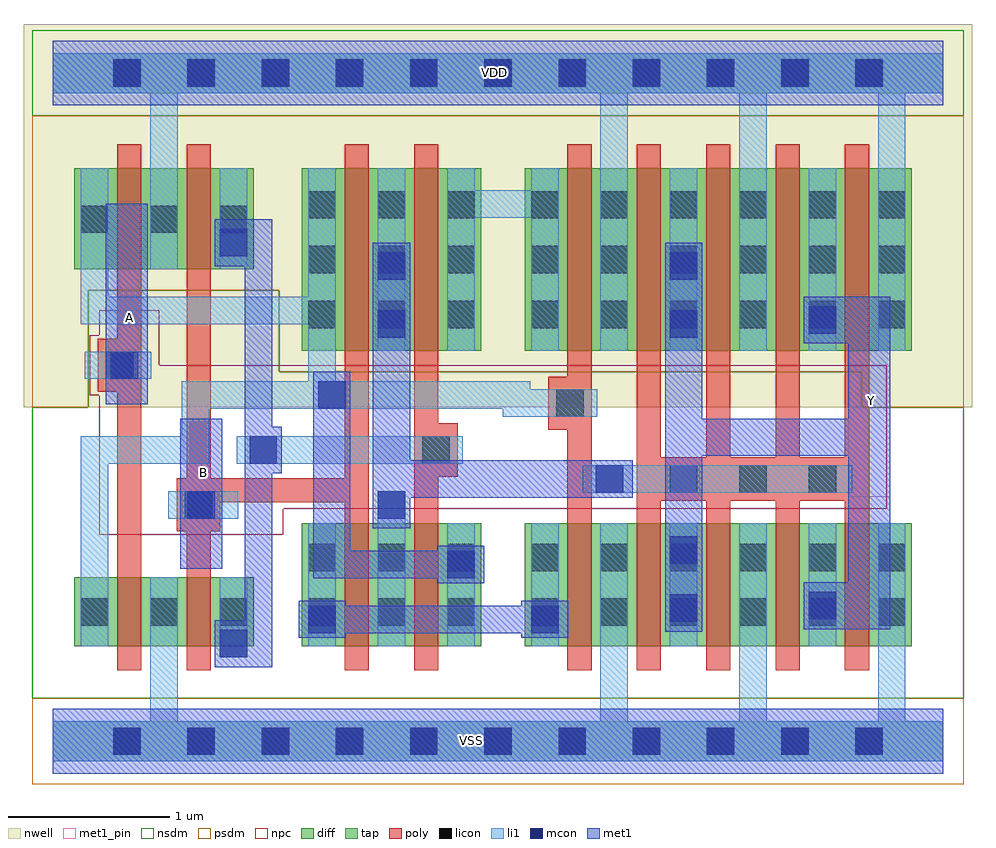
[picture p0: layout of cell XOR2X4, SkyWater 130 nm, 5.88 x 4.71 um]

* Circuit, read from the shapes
.subckt XOR2X4 A B VDD VSS Y
XM1 VSS A n1 VSS sky130_fd_pr__nfet_01v8 w=0.425 l=0.15
XM2 n2 B VSS VSS sky130_fd_pr__nfet_01v8 w=0.425 l=0.15
XM3 n3 B n4 VSS sky130_fd_pr__nfet_01v8 w=0.76 l=0.15
XM4 n1 n2 n3 VSS sky130_fd_pr__nfet_01v8 w=0.76 l=0.15
XM5 VSS n1 n4 VSS sky130_fd_pr__nfet_01v8 w=0.76 l=0.15
XM6 Y n3 VSS VSS sky130_fd_pr__nfet_01v8 w=0.76 l=0.15 m=4
XM7 VDD A n1 VDD sky130_fd_pr__pfet_01v8 w=0.625 l=0.15
XM8 n2 B VDD VDD sky130_fd_pr__pfet_01v8 w=0.625 l=0.15
XM9 n3 B n1 VDD sky130_fd_pr__pfet_01v8 w=1.13 l=0.15
XM10 n5 n2 n3 VDD sky130_fd_pr__pfet_01v8 w=1.13 l=0.15
XM11 VDD n1 n5 VDD sky130_fd_pr__pfet_01v8 w=1.13 l=0.15
XM12 Y n3 VDD VDD sky130_fd_pr__pfet_01v8 w=1.13 l=0.15 m=4
.ends

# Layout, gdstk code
from math import pi, radians
import gdstk
lib = gdstk.Library(unit=1e-6, precision=1e-09)
def R(c, l, rs):  # rectangles x0, y0, x1, y1
    for r in rs: c.add(gdstk.rectangle(r[:2], r[2:], *l))
def A(c, l, x, y, w, h, nx, ny, dx, dy):  # array of equal rectangles
    R(c, l, [(x+i*dx, y+j*dy, x+i*dx+w, y+j*dy+h) for i in range(nx) for j in range(ny)])
def P(c, l, *ps):  # polygons
    for p in ps: c.add(gdstk.Polygon(p, *l))
nwell = (64, 20)
diff = (65, 20)
tap = (65, 44)
poly = (66, 20)
licon = (66, 44)
li1 = (67, 20)
mcon = (67, 44)
met1_pin = (68, 16)
met1 = (68, 20)
nsdm = (93, 44)
psdm = (94, 20)
npc = (95, 20)

l1m1_c_cdns_750710154090 = lib.new_cell('L1M1_C_CDNS_750710154090')
R(l1m1_c_cdns_750710154090, li1, [(-0.165,-0.085,0.165,0.085)])
R(l1m1_c_cdns_750710154090, mcon, [(-0.085,-0.085,0.085,0.085)])
R(l1m1_c_cdns_750710154090, met1, [(-0.115,-0.145,0.115,0.145)])

l1m1_c_cdns_750710154091 = lib.new_cell('L1M1_C_CDNS_750710154091')
R(l1m1_c_cdns_750710154091, li1, [(-0.085,-0.165,0.085,0.165)])
R(l1m1_c_cdns_750710154091, mcon, [(-0.085,-0.085,0.085,0.085)])
R(l1m1_c_cdns_750710154091, met1, [(-0.115,-0.145,0.115,0.145)])

pyl1con_c_cdns_750710154 = lib.new_cell('PYL1CON_C_CDNS_750710154092')
R(pyl1con_c_cdns_750710154, poly, [(-0.135,-0.165,0.135,0.165)])
R(pyl1con_c_cdns_750710154, licon, [(-0.085,-0.085,0.085,0.085)])
R(pyl1con_c_cdns_750710154, npc, [(-0.185,-0.185,0.185,0.185)])

l1m1_c_cdns_750710154093 = lib.new_cell('L1M1_C_CDNS_750710154093')
R(l1m1_c_cdns_750710154093, li1, [(-0.085,-0.165,0.085,0.165)])
R(l1m1_c_cdns_750710154093, mcon, [(-0.085,-0.085,0.085,0.085)])
R(l1m1_c_cdns_750710154093, met1, [(-0.145,-0.115,0.145,0.115)])

l1m1_c_cdns_750710154094 = lib.new_cell('L1M1_C_CDNS_750710154094')
R(l1m1_c_cdns_750710154094, li1, [(-0.085,-0.345,0.085,0.345)])
R(l1m1_c_cdns_750710154094, mcon, [(-0.085,-0.265,0.085,-0.095), (-0.085,0.095,0.085,0.265)])
R(l1m1_c_cdns_750710154094, met1, [(-0.115,-0.325,0.115,0.325)])

l1m1_c_cdns_750710154095 = lib.new_cell('L1M1_C_CDNS_750710154095')
R(l1m1_c_cdns_750710154095, li1, [(-0.165,-0.085,0.165,0.085)])
R(l1m1_c_cdns_750710154095, mcon, [(-0.085,-0.085,0.085,0.085)])
R(l1m1_c_cdns_750710154095, met1, [(-0.145,-0.115,0.145,0.115)])

l1m1_c_cdns_750710154096 = lib.new_cell('L1M1_C_CDNS_750710154096')
R(l1m1_c_cdns_750710154096, li1, [(-0.085,-0.085,0.085,0.085)])
R(l1m1_c_cdns_750710154096, mcon, [(-0.085,-0.085,0.085,0.085)])
R(l1m1_c_cdns_750710154096, met1, [(-0.115,-0.145,0.115,0.145)])

l1m1_c_cdns_750710154097 = lib.new_cell('L1M1_C_CDNS_750710154097')
R(l1m1_c_cdns_750710154097, li1, [(-0.085,-0.085,0.085,0.165)])
R(l1m1_c_cdns_750710154097, mcon, [(-0.085,-0.085,0.085,0.085)])
R(l1m1_c_cdns_750710154097, met1, [(-0.115,-0.145,0.115,0.145)])

xor2x4 = lib.new_cell('XOR2X4')
R(xor2x4, nwell, [(-0.18,2.07,5.7,4.305), (1.365,2.24,2.365,3.73), (2.005,2.24,2.835,3.73), (2.745,2.24,3.575,3.73), (3.215,2.24,5.505,3.73), (-0.045,2.745,0.955,3.73), (0.595,2.745,1.425,3.73), (-0.18,3.875,5.7,4.445)])
A(xor2x4, diff, 3.19, 0.59, 0.15, 0.76, 5, 1, 0.43, 0)
A(xor2x4, diff, 3.77, 0.59, 0.28, 0.76, 3, 1, 0.43, 0)
A(xor2x4, diff, 3.19, 2.42, 0.15, 1.13, 5, 1, 0.43, 0)
A(xor2x4, diff, 3.77, 2.42, 0.28, 1.13, 3, 1, 0.43, 0)
R(xor2x4, diff, [(0.135,0.59,0.4,1.015), (0.4,0.59,0.55,1.015), (0.55,0.59,0.775,1.015), (0.775,0.59,0.83,1.015), (0.83,0.59,0.98,1.015), (0.98,0.59,1.245,1.015), (1.545,0.59,1.81,1.35), (1.81,0.59,1.96,1.35), (1.96,0.59,2.185,1.35), (2.185,0.59,2.24,1.35), (2.24,0.59,2.39,1.35), (2.39,0.59,2.655,1.35), (2.925,0.59,3.19,1.35), (3.34,0.59,3.395,1.35), (3.395,0.59,3.62,1.35), (5.06,0.59,5.325,1.35), (1.545,2.42,1.81,3.55), (1.81,2.42,1.96,3.55), (1.96,2.42,2.185,3.55), (2.185,2.42,2.24,3.55), (2.24,2.42,2.39,3.55), (2.39,2.42,2.655,3.55), (2.925,2.42,3.19,3.55), (3.34,2.42,3.395,3.55), (3.395,2.42,3.62,3.55), (5.06,2.42,5.325,3.55), (0.135,2.925,0.4,3.55), (0.4,2.925,0.55,3.55), (0.55,2.925,0.775,3.55), (0.775,2.925,0.83,3.55), (0.83,2.925,0.98,3.55), (0.98,2.925,1.245,3.55)])
A(xor2x4, poly, 3.19, 0.44, 0.15, 0.055, 5, 2, 0.43, 1.005)
A(xor2x4, poly, 3.19, 0.495, 0.15, 0.095, 5, 2, 0.43, 0.855)
A(xor2x4, poly, 3.19, 0.59, 0.15, 0.76, 5, 1, 0.43, 0)
A(xor2x4, poly, 3.19, 2.27, 0.15, 0.055, 5, 2, 0.43, 1.375)
A(xor2x4, poly, 3.19, 2.325, 0.15, 0.095, 5, 2, 0.43, 1.225)
A(xor2x4, poly, 3.19, 2.42, 0.15, 1.13, 5, 1, 0.43, 0)
R(xor2x4, poly, [(0.4,0.44,0.55,0.495), (0.83,0.44,0.98,0.495), (1.81,0.44,1.96,0.495), (2.24,0.44,2.39,0.495), (0.4,0.495,0.55,0.59), (0.83,0.495,0.98,0.59), (1.81,0.495,1.96,0.59), (2.24,0.495,2.39,0.59), (0.4,0.59,0.55,1.015), (0.83,0.59,0.98,1.015), (1.81,0.59,1.96,1.35), (2.24,0.59,2.39,1.35), (0.4,1.015,0.55,1.11), (0.83,1.015,0.98,1.11), (0.4,1.11,0.55,1.165), (0.83,1.11,0.98,1.165), (1.81,1.35,1.96,1.445), (2.24,1.35,2.39,1.445), (1.81,1.445,1.96,1.5), (2.24,1.445,2.39,1.5), (1.81,2.27,1.96,2.325), (2.24,2.27,2.39,2.325), (1.81,2.325,1.96,2.42), (2.24,2.325,2.39,2.42), (1.81,2.42,1.96,3.55), (2.24,2.42,2.39,3.55), (0.4,2.775,0.55,2.83), (0.83,2.775,0.98,2.83), (0.4,2.83,0.55,2.925), (0.83,2.83,0.98,2.925), (0.4,2.925,0.55,3.55), (0.83,2.925,0.98,3.55), (0.4,3.55,0.55,3.645), (0.83,3.55,0.98,3.645), (1.81,3.55,1.96,3.645), (2.24,3.55,2.39,3.645), (0.4,3.645,0.55,3.7), (0.83,3.645,0.98,3.7), (1.81,3.645,1.96,3.7), (2.24,3.645,2.39,3.7)])
A(xor2x4, licon, 0.375, -0.085, 0.17, 0.17, 11, 2, 0.46, 4.14)
A(xor2x4, licon, 0.175, 0.715, 0.17, 0.17, 3, 2, 0.43, 2.435)
A(xor2x4, licon, 1.585, 0.715, 0.17, 0.17, 3, 2, 0.43, 0.34)
A(xor2x4, licon, 2.965, 0.715, 0.17, 0.17, 6, 2, 0.43, 0.34)
A(xor2x4, licon, 1.585, 2.56, 0.17, 0.17, 3, 3, 0.43, 0.34)
A(xor2x4, licon, 2.965, 2.56, 0.17, 0.17, 6, 3, 0.43, 0.34)
A(xor2x4, li1, 0.175, 0.59, 0.17, 0.425, 3, 1, 0.43, 0)
A(xor2x4, li1, 1.585, 0.59, 0.17, 0.76, 3, 1, 0.43, 0)
A(xor2x4, li1, 2.965, 0.59, 0.17, 0.76, 6, 1, 0.43, 0)
A(xor2x4, li1, 1.585, 2.42, 0.17, 1.13, 3, 1, 0.43, 0)
A(xor2x4, li1, 2.965, 2.42, 0.17, 1.13, 6, 1, 0.43, 0)
A(xor2x4, li1, 0.175, 2.925, 0.17, 0.625, 3, 1, 0.43, 0)
A(xor2x4, mcon, 0.375, -0.085, 0.17, 0.17, 11, 2, 0.46, 4.14)
R(xor2x4, met1_pin, [(0.79,1.07,1.05,2), (4.93,1.515,5.19,2.755), (0.33,2.09,0.59,3.33)])
R(xor2x4, met1, [(1.005,2.945,1.36,3.235)])
R(xor2x4, nsdm, [(-0.005,0.46,0.785,1.145), (0.765,0.46,1.385,1.145), (1.405,0.46,2.195,1.48), (2.175,0.46,2.795,1.48), (2.785,0.46,3.405,1.48), (3.385,0.46,5.465,1.48), (-0.125,3.875,5.645,4.405), (-0.125,3.93,5.645,4.35)])
P(xor2x4, nsdm, [(5.645,2.07),(5.015,2.07),(5.015,2.29),(1.405,2.29),(1.405,2.795),(0.22,2.795),(0.22,2.07),(-0.125,2.07),(-0.125,0.265),(5.645,0.265)])
R(xor2x4, psdm, [(-0.125,-0.265,5.645,0.265), (-0.125,-0.21,5.645,0.21), (1.405,2.29,2.195,3.68), (2.175,2.29,2.795,3.68), (2.785,2.29,3.405,3.68), (3.385,2.29,5.465,3.68), (-0.005,2.795,0.785,3.68), (0.765,2.795,1.385,3.68)])
P(xor2x4, psdm, [(5.645,3.875),(-0.125,3.875),(-0.125,2.07),(0.22,2.07),(0.22,2.795),(1.405,2.795),(1.405,2.29),(5.015,2.29),(5.015,2.07),(5.645,2.07)])
P(xor2x4, npc, [(5.17,2.33),(0.66,2.33),(0.66,2.67),(0.29,2.67),(0.29,1.28),(1.43,1.28),(1.43,1.44),(5.17,1.44)])
xor2x4.add(gdstk.FlexPath([(0.475,2.83),(0.475,1.11)], 0.15, ends="flush", simple_path=True, layer=66, datatype=20))  # poly
xor2x4.add(gdstk.FlexPath([(3.695,2.325),(3.695,1.445)], 0.15, ends="flush", simple_path=True, layer=66, datatype=20))  # poly
xor2x4.add(gdstk.FlexPath([(3.265,2.325),(3.265,1.445)], 0.15, ends="flush", simple_path=True, layer=66, datatype=20))  # poly
xor2x4.add(gdstk.FlexPath([(2.315,2.325),(2.315,1.45)], 0.15, ends="flush", simple_path=True, layer=66, datatype=20))  # poly
xor2x4.add(gdstk.FlexPath([(4.555,2.325),(4.555,1.445)], 0.15, ends="flush", simple_path=True, layer=66, datatype=20))  # poly
xor2x4.add(gdstk.FlexPath([(0.905,1.11),(0.905,2.83)], 0.15, ends="flush", simple_path=True, layer=66, datatype=20))  # poly
xor2x4.add(gdstk.FlexPath([(1.885,1.555),(1.885,2.27)], 0.15, ends=(0.075, 0), simple_path=True, layer=66, datatype=20))  # poly
xor2x4.add(gdstk.FlexPath([(1.885,1.555),(0.77,1.555)], 0.15, ends=(0.075, 0), simple_path=True, layer=66, datatype=20))  # poly
xor2x4.add(gdstk.FlexPath([(4.985,2.325),(4.985,1.445)], 0.15, ends="flush", simple_path=True, layer=66, datatype=20))  # poly
xor2x4.add(gdstk.FlexPath([(4.125,2.325),(4.125,1.445)], 0.15, ends="flush", simple_path=True, layer=66, datatype=20))  # poly
xor2x4.add(gdstk.FlexPath([(1.885,1.555),(1.885,1.5)], 0.15, ends=(0.075, 0), simple_path=True, layer=66, datatype=20))  # poly
xor2x4.add(gdstk.FlexPath([(1.885,1.555),(1.885,2.325)], 0.15, ends=(0.075, 0), simple_path=True, layer=66, datatype=20))  # poly
xor2x4.add(gdstk.FlexPath([(3.375,2.095),(2.875,2.095)], 0.17, ends=(0, 0.085), simple_path=True, layer=67, datatype=20))  # li1
xor2x4.add(gdstk.FlexPath([(2.875,2.095),(2.875,2.145)], 0.17, ends="extended", simple_path=True, layer=67, datatype=20))  # li1
xor2x4.add(gdstk.FlexPath([(2.845,2.145),(1.58,2.145)], 0.17, ends="flush", simple_path=True, layer=67, datatype=20))  # li1
xor2x4.add(gdstk.FlexPath([(3.48,0.59),(3.48,0)], 0.17, ends=(0, 0.085), simple_path=True, layer=67, datatype=20))  # li1
xor2x4.add(gdstk.FlexPath([(1.67,2.67),(0.26,2.67)], 0.17, ends="extended", simple_path=True, layer=67, datatype=20))  # li1
xor2x4.add(gdstk.FlexPath([(1.67,2.29),(1.67,2.67)], 0.17, ends=(0, 0.085), simple_path=True, layer=67, datatype=20))  # li1
xor2x4.add(gdstk.FlexPath([(4.34,0.59),(4.34,0)], 0.17, ends=(0, 0.085), simple_path=True, layer=67, datatype=20))  # li1
xor2x4.add(gdstk.FlexPath([(3.48,0),(0.215,0)], 0.17, ends=(0.085, 0), simple_path=True, layer=67, datatype=20))  # li1
xor2x4.add(gdstk.FlexPath([(2.1,1.35),(2.1,1.55)], 0.17, ends="flush", simple_path=True, layer=67, datatype=20))  # li1
xor2x4.add(gdstk.FlexPath([(0.69,3.55),(0.69,4.14)], 0.17, ends=(0, 0.125), simple_path=True, layer=67, datatype=20))  # li1
xor2x4.add(gdstk.FlexPath([(4.955,1.625),(3.285,1.625)], 0.17, ends="flush", simple_path=True, layer=67, datatype=20))  # li1
xor2x4.add(gdstk.FlexPath([(0.26,1.805),(0.26,1.015)], 0.17, ends=(0.085, 0), simple_path=True, layer=67, datatype=20))  # li1
xor2x4.add(gdstk.FlexPath([(2.54,1.805),(1.14,1.805)], 0.17, ends="flush", simple_path=True, layer=67, datatype=20))  # li1
xor2x4.add(gdstk.FlexPath([(0,0),(5.52,0)], 0.25, ends="flush", simple_path=True, layer=67, datatype=20))  # li1
xor2x4.add(gdstk.FlexPath([(4.34,3.55),(4.34,4.14)], 0.17, ends=(0, 0.125), simple_path=True, layer=67, datatype=20))  # li1
xor2x4.add(gdstk.FlexPath([(3.48,3.55),(3.48,4.14)], 0.17, ends=(0, 0.125), simple_path=True, layer=67, datatype=20))  # li1
xor2x4.add(gdstk.FlexPath([(2.53,3.33),(2.965,3.33)], 0.17, ends=(0.085, 0), simple_path=True, layer=67, datatype=20))  # li1
xor2x4.add(gdstk.FlexPath([(5.2,0),(4.34,0)], 0.17, ends="extended", simple_path=True, layer=67, datatype=20))  # li1
xor2x4.add(gdstk.FlexPath([(4.34,0),(3.48,0)], 0.17, ends="extended", simple_path=True, layer=67, datatype=20))  # li1
xor2x4.add(gdstk.FlexPath([(0.885,2.145),(0.885,1.805)], 0.17, ends="extended", simple_path=True, layer=67, datatype=20))  # li1
xor2x4.add(gdstk.FlexPath([(1.67,3.55),(1.67,2.06)], 0.17, ends="flush", simple_path=True, layer=67, datatype=20))  # li1
xor2x4.add(gdstk.FlexPath([(1.09,1.465),(0.755,1.465)], 0.17, ends="flush", simple_path=True, layer=67, datatype=20))  # li1
xor2x4.add(gdstk.FlexPath([(5.2,3.55),(5.2,4.14)], 0.17, ends=(0, 0.085), simple_path=True, layer=67, datatype=20))  # li1
xor2x4.add(gdstk.FlexPath([(0.69,0.59),(0.69,0)], 0.17, ends="flush", simple_path=True, layer=67, datatype=20))  # li1
xor2x4.add(gdstk.FlexPath([(0,4.14),(5.52,4.14)], 0.25, ends="flush", simple_path=True, layer=67, datatype=20))  # li1
xor2x4.add(gdstk.FlexPath([(5.2,4.14),(0.215,4.14)], 0.17, ends=(0.085, 0), simple_path=True, layer=67, datatype=20))  # li1
xor2x4.add(gdstk.FlexPath([(0.885,1.805),(0.26,1.805)], 0.17, ends="extended", simple_path=True, layer=67, datatype=20))  # li1
xor2x4.add(gdstk.FlexPath([(1.15,1.465),(0.715,1.465)], 0.17, ends="flush", simple_path=True, layer=67, datatype=20))  # li1
xor2x4.add(gdstk.FlexPath([(0.26,1.89),(0.26,1.805)], 0.17, ends=(0, 0.085), simple_path=True, layer=67, datatype=20))  # li1
xor2x4.add(gdstk.FlexPath([(0.26,2.76),(0.26,2.675)], 0.17, ends=(0.085, 0), simple_path=True, layer=67, datatype=20))  # li1
xor2x4.add(gdstk.FlexPath([(0.445,2.33),(0.2,2.33)], 0.17, ends="flush", simple_path=True, layer=67, datatype=20))  # li1
xor2x4.add(gdstk.FlexPath([(0.26,2.925),(0.26,2.76)], 0.17, ends=(0, 0.085), simple_path=True, layer=67, datatype=20))  # li1
xor2x4.add(gdstk.FlexPath([(2.875,2.145),(2.845,2.145)], 0.17, ends=(0.085, 0), simple_path=True, layer=67, datatype=20))  # li1
xor2x4.add(gdstk.FlexPath([(1.73,2.145),(0.885,2.145)], 0.17, ends=(0, 0.085), simple_path=True, layer=67, datatype=20))  # li1
xor2x4.add(gdstk.FlexPath([(5.2,0.59),(5.2,0)], 0.17, ends=(0, 0.085), simple_path=True, layer=67, datatype=20))  # li1
xor2x4.add(gdstk.FlexPath([(3.595,1.625),(1.985,1.625)], 0.23, ends="flush", simple_path=True, layer=68, datatype=20))  # met1
xor2x4.add(gdstk.FlexPath([(1.815,0.755),(3.195,0.755)], 0.17, ends="flush", simple_path=True, layer=68, datatype=20))  # met1
xor2x4.add(gdstk.FlexPath([(2.53,1.095),(1.73,1.095)], 0.17, ends=(0.115, 0.115), simple_path=True, layer=68, datatype=20))  # met1
xor2x4.add(gdstk.FlexPath([(0.92,1.07),(0.92,2)], 0.26, ends="flush", simple_path=True, layer=68, datatype=20))  # met1
xor2x4.add(gdstk.FlexPath([(5.06,0.695),(5.06,2.755)], 0.26, ends="flush", simple_path=True, layer=68, datatype=20))  # met1
xor2x4.add(gdstk.FlexPath([(4.77,0.84),(4.885,0.84)], 0.29, ends=(0, 0.13), simple_path=True, layer=68, datatype=20))  # met1
xor2x4.add(gdstk.FlexPath([(1.73,1.095),(1.73,2.145)], 0.23, ends=(0.085, 0), simple_path=True, layer=68, datatype=20))  # met1
xor2x4.add(gdstk.FlexPath([(1.275,0.605),(1.275,3.09)], 0.17, ends=(0.145, 0.085), simple_path=True, layer=68, datatype=20))  # met1
xor2x4.add(gdstk.FlexPath([(4.885,0.84),(4.885,0.865)], 0.26, ends=(0.145, 0), simple_path=True, layer=68, datatype=20))  # met1
xor2x4.add(gdstk.FlexPath([(4.77,2.61),(4.885,2.61)], 0.29, ends=(0, 0.13), simple_path=True, layer=68, datatype=20))  # met1
xor2x4.add(gdstk.FlexPath([(0,4.14),(5.52,4.14)], 0.4, ends="flush", simple_path=True, layer=68, datatype=20))  # met1
xor2x4.add(gdstk.FlexPath([(5.055,1.885),(3.795,1.885)], 0.23, ends="flush", simple_path=True, layer=68, datatype=20))  # met1
xor2x4.add(gdstk.FlexPath([(3.91,0.68),(3.91,3.09)], 0.23, ends="flush", simple_path=True, layer=68, datatype=20))  # met1
xor2x4.add(gdstk.FlexPath([(2.1,1.32),(2.1,3.09)], 0.23, ends="flush", simple_path=True, layer=68, datatype=20))  # met1
xor2x4.add(gdstk.FlexPath([(0,0),(5.52,0)], 0.4, ends="flush", simple_path=True, layer=68, datatype=20))  # met1
xor2x4.add(gdstk.FlexPath([(1.12,0.605),(1.235,0.605)], 0.29, ends=(0, 0.085), simple_path=True, layer=68, datatype=20))  # met1
xor2x4.add(gdstk.FlexPath([(1.275,3.09),(1.16,3.09)], 0.17, ends=(0.085, 0), simple_path=True, layer=68, datatype=20))  # met1
xor2x4.add(gdstk.FlexPath([(0.46,2.09),(0.46,3.33)], 0.26, ends="flush", simple_path=True, layer=68, datatype=20))  # met1
xor2x4.add(gdstk.FlexPath([(0,4.14),(5.52,4.14)], 0.25, ends="flush", simple_path=True, layer=65, datatype=44))  # tap
xor2x4.add(gdstk.FlexPath([(0,0),(5.52,0)], 0.25, ends="flush", simple_path=True, layer=65, datatype=44))  # tap
xor2x4.add(gdstk.FlexPath([(0,4.14),(5.52,4.14)], 0.4, ends="flush", simple_path=True, layer=68, datatype=16))  # met1_pin
xor2x4.add(gdstk.FlexPath([(0,0),(5.52,0)], 0.4, ends="flush", simple_path=True, layer=68, datatype=16))  # met1_pin
xor2x4.add(gdstk.Reference(l1m1_c_cdns_750710154090, (0.92,1.465), x_reflection=True))
xor2x4.add(gdstk.Reference(l1m1_c_cdns_750710154090, (0.445,2.33), x_reflection=True))
xor2x4.add(gdstk.Reference(l1m1_c_cdns_750710154090, (1.73,2.145)))
xor2x4.add(gdstk.Reference(l1m1_c_cdns_750710154091, (4.77,2.61)))
xor2x4.add(gdstk.Reference(l1m1_c_cdns_750710154091, (4.77,0.84)))
xor2x4.add(gdstk.Reference(l1m1_c_cdns_750710154091, (1.12,3.09)))
xor2x4.add(gdstk.Reference(pyl1con_c_cdns_750710154, (2.375,1.805), x_reflection=True))
xor2x4.add(gdstk.Reference(pyl1con_c_cdns_750710154, (4.77,1.625), rotation=3*pi/2, x_reflection=True))
xor2x4.add(gdstk.Reference(pyl1con_c_cdns_750710154, (4.34,1.625), rotation=3*pi/2, x_reflection=True))
xor2x4.add(gdstk.Reference(pyl1con_c_cdns_750710154, (3.91,1.625), rotation=3*pi/2, x_reflection=True))
xor2x4.add(gdstk.Reference(pyl1con_c_cdns_750710154, (3.205,2.095), x_reflection=True))
xor2x4.add(gdstk.Reference(pyl1con_c_cdns_750710154, (0.905,1.465), rotation=pi, x_reflection=True))
xor2x4.add(gdstk.Reference(pyl1con_c_cdns_750710154, (0.415,2.33), rotation=pi, x_reflection=True))
xor2x4.add(gdstk.Reference(l1m1_c_cdns_750710154093, (3.05,0.755)))
xor2x4.add(gdstk.Reference(l1m1_c_cdns_750710154093, (1.67,0.755)))
xor2x4.add(gdstk.Reference(l1m1_c_cdns_750710154093, (2.53,1.095)))
xor2x4.add(gdstk.Reference(l1m1_c_cdns_750710154093, (1.305,1.805), rotation=pi/2))
xor2x4.add(gdstk.Reference(l1m1_c_cdns_750710154094, (2.1,2.765)))
xor2x4.add(gdstk.Reference(l1m1_c_cdns_750710154094, (3.91,2.765)))
xor2x4.add(gdstk.Reference(l1m1_c_cdns_750710154094, (3.91,1.005)))
xor2x4.add(gdstk.Reference(l1m1_c_cdns_750710154095, (3.45,1.625)))
xor2x4.add(gdstk.Reference(l1m1_c_cdns_750710154096, (2.1,1.465)))
xor2x4.add(gdstk.Reference(l1m1_c_cdns_750710154097, (1.12,0.605)))
xor2x4.add(gdstk.Label('VDD', (2.74,4.145), layer=68, texttype=16))
xor2x4.add(gdstk.Label('Y', (5.075,2.11), layer=68, texttype=16))
xor2x4.add(gdstk.Label('B', (0.935,1.665), layer=68, texttype=16))
xor2x4.add(gdstk.Label('VSS', (2.595,0.005), layer=68, texttype=16))
xor2x4.add(gdstk.Label('A', (0.475,2.625), layer=68, texttype=16))

lib.write_gds('XOR2X4.gds')
